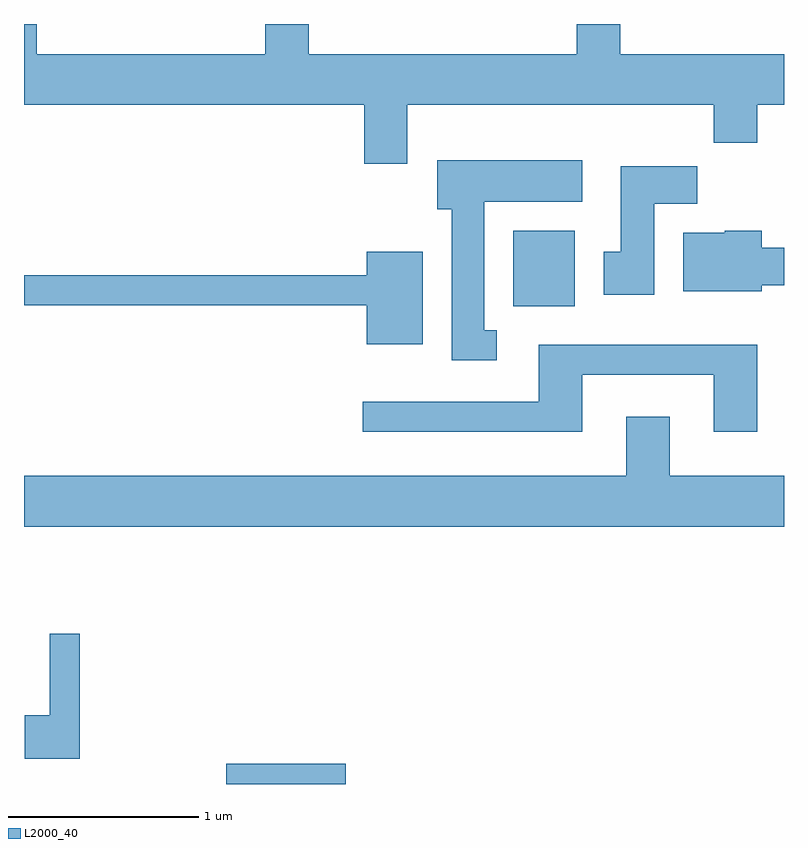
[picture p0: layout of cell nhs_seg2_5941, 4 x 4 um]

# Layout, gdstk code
import gdstk
lib = gdstk.Library(unit=1e-6, precision=1e-09)
def R(c, l, rs):  # rectangles x0, y0, x1, y1
    for r in rs: c.add(gdstk.rectangle(r[:2], r[2:], *l))
def P(c, l, *ps):  # polygons
    for p in ps: c.add(gdstk.Polygon(p, *l))
L2000_40 = (2000, 40)

nhs_seg2_5941 = lib.new_cell('nhs_seg2_5941')
R(nhs_seg2_5941, L2000_40, [(360.676,1095.802,361.304,1095.909), (362.186,1098.316,362.509,1098.714), (363.123,1099.801,363.611,1099.802)])
P(nhs_seg2_5941, L2000_40, [(361.629,1099.376),(363.241,1099.376),(363.241,1099.176),(363.469,1099.176),(363.469,1099.376),(363.611,1099.376),(363.611,1099.644),(362.749,1099.644),(362.749,1099.802),(362.521,1099.802),(362.521,1099.644),(361.109,1099.644),(361.109,1099.802),(360.881,1099.802),(360.881,1099.644),(359.679,1099.644),(359.679,1099.802),(359.611,1099.802),(359.611,1099.376),(361.401,1099.376),(361.401,1099.066),(361.629,1099.066)],
  [(362.098,1098.189),(362.034,1098.189),(362.034,1098.866),(362.549,1098.866),(362.549,1099.084),(361.786,1099.084),(361.786,1098.826),(361.861,1098.826),(361.861,1098.031),(362.098,1098.031)],
  [(362.929,1098.856),(363.154,1098.856),(363.154,1099.054),(362.751,1099.054),(362.751,1098.604),(362.661,1098.604),(362.661,1098.376),(362.929,1098.376)],
  [(363.494,1098.426),(363.611,1098.426),(363.611,1098.624),(363.494,1098.624),(363.494,1098.714),(363.3,1098.714),(363.3,1098.704),(363.081,1098.704),(363.081,1098.396),(363.494,1098.396)],
  [(361.709,1098.604),(361.416,1098.604),(361.416,1098.479),(359.611,1098.479),(359.611,1098.321),(361.416,1098.321),(361.416,1098.116),(361.709,1098.116)],
  [(362.549,1097.956),(363.241,1097.956),(363.241,1097.656),(363.469,1097.656),(363.469,1098.114),(362.321,1098.114),(362.321,1097.814),(361.393,1097.814),(361.393,1097.656),(362.549,1097.656)],
  [(363.611,1097.424),(363.009,1097.424),(363.009,1097.734),(362.781,1097.734),(362.781,1097.424),(359.611,1097.424),(359.611,1097.156),(363.611,1097.156)],
  [(359.904,1096.593),(359.746,1096.593),(359.746,1096.164),(359.616,1096.164),(359.616,1095.936),(359.904,1095.936)])

lib.write_gds('nhs_seg2_5941.gds')
